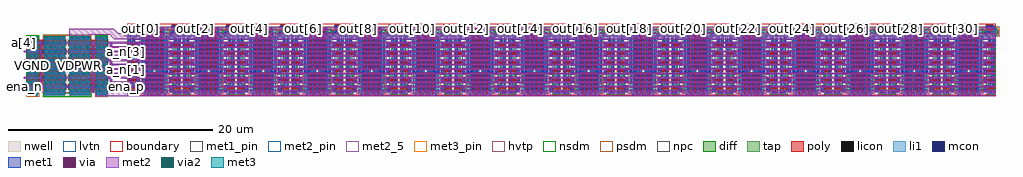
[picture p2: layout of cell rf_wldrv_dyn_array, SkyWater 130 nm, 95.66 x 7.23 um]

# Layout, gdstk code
from math import pi, radians
import gdstk
lib = gdstk.Library(unit=1e-6, precision=1e-09)
def R(c, l, rs):  # rectangles x0, y0, x1, y1
    for r in rs: c.add(gdstk.rectangle(r[:2], r[2:], *l))
def A(c, l, x, y, w, h, nx, ny, dx, dy):  # array of equal rectangles
    R(c, l, [(x+i*dx, y+j*dy, x+i*dx+w, y+j*dy+h) for i in range(nx) for j in range(ny)])
def P(c, l, *ps):  # polygons
    for p in ps: c.add(gdstk.Polygon(p, *l))
nwell = (64, 20)
diff = (65, 20)
tap = (65, 44)
poly = (66, 20)
licon = (66, 44)
li1 = (67, 20)
mcon = (67, 44)
met1_pin = (68, 16)
met1 = (68, 20)
via = (68, 44)
met2_5 = (69, 5)
met2_pin = (69, 16)
met2 = (69, 20)
via2 = (69, 44)
met3_pin = (70, 16)
met3 = (70, 20)
hvtp = (78, 44)
nsdm = (93, 44)
psdm = (94, 20)
npc = (95, 20)
lvtn = (125, 44)
boundary = (235, 4)

rf_wldrv_dyn = lib.new_cell('rf_wldrv_dyn')
R(rf_wldrv_dyn, nwell, [(1.17,2.515,2.965,5.735), (-0.355,5.735,2.965,6.735)])
A(rf_wldrv_dyn, diff, 0.235, 0.465, 0.52, 0.3, 1, 6, 0, 0.86)
A(rf_wldrv_dyn, diff, 0.145, 0.765, 0.61, 0.56, 1, 5, 0, 0.86)
R(rf_wldrv_dyn, diff, [(0.145,0.135,0.755,0.465), (1.64,0.235,2.785,2.065), (1.64,2.695,2.785,6.395), (0.145,5.065,0.755,5.395), (-0.175,5.945,1.08,6.365), (-0.125,6.365,0.125,6.555)])
R(rf_wldrv_dyn, tap, [(1.35,0.235,1.64,2.065), (1.35,2.695,1.64,6.395)])
A(rf_wldrv_dyn, poly, 0.105, 0.54, 1.06, 0.15, 1, 6, 0, 0.86)
R(rf_wldrv_dyn, poly, [(1.94,0.105,2.09,2.14), (2.37,0.105,2.52,2.14), (0.895,0.45,1.165,0.54), (0.895,0.69,1.165,0.78), (0.895,1.31,1.165,1.4), (0.895,1.55,1.165,1.64), (1.94,2.14,2.52,2.24), (0.895,2.17,1.165,2.26), (1.925,2.24,2.535,2.51), (0.895,2.41,1.165,2.5), (1.94,2.51,2.52,2.62), (1.94,2.62,2.09,6.525), (2.37,2.62,2.52,6.525), (0.895,3.03,1.165,3.12), (0.895,3.27,1.165,3.36), (0.895,3.89,1.165,3.98), (0.895,4.13,1.165,4.22), (0.895,4.75,1.165,4.84), (0.895,4.99,1.165,5.08), (0.465,5.815,0.765,6.52), (0.28,6.52,0.95,6.82)])
A(rf_wldrv_dyn, licon, 1.37, 0.385, 0.17, 0.17, 1, 5, 0, 0.34)
A(rf_wldrv_dyn, licon, 1.715, 0.385, 0.17, 0.17, 3, 5, 0.43, 0.34)
A(rf_wldrv_dyn, licon, 0.945, 0.53, 0.17, 0.17, 1, 6, 0, 0.86)
A(rf_wldrv_dyn, licon, 0.375, 0.745, 0.17, 0.17, 1, 10, 0, 0.43)
A(rf_wldrv_dyn, licon, 1.715, 2.76, 0.17, 0.17, 3, 11, 0.43, 0.34)
A(rf_wldrv_dyn, licon, 1.365, 2.93, 0.17, 0.17, 1, 10, 0, 0.34)
R(rf_wldrv_dyn, licon, [(0.205,0.255,0.375,0.425), (0.545,0.255,0.715,0.425), (1.975,2.29,2.145,2.46), (2.315,2.29,2.485,2.46), (0.205,5.105,0.375,5.275), (0.545,5.105,0.715,5.275), (-0.085,5.985,0.085,6.155), (0.87,6.07,1.04,6.24), (-0.085,6.325,0.085,6.495), (0.36,6.6,0.53,6.77), (0.7,6.6,0.87,6.77)])
A(rf_wldrv_dyn, li1, 0.945, 0.29, 0.17, 0.65, 1, 6, 0, 0.86)
A(rf_wldrv_dyn, li1, 0.295, 0.745, 0.33, 0.6, 1, 5, 0, 0.86)
R(rf_wldrv_dyn, li1, [(0,0.175,0.715,0.505), (1.365,0.215,1.885,2.085), (2.145,0.215,2.315,2.085), (2.575,0.215,2.745,2.085), (1.315,2.29,2.565,2.46), (1.365,2.675,1.885,5.715), (2.145,2.675,2.315,6.415), (2.575,2.675,2.745,6.415), (0.205,5.015,0.715,5.545), (-0.085,5.715,1.885,5.885), (-0.085,5.885,0.085,6.575), (1.365,5.885,1.885,6.415), (0.515,6.07,1.12,6.24), (0.28,6.6,0.95,6.77)])
A(rf_wldrv_dyn, mcon, 1.715, 0.345, 0.17, 0.17, 1, 5, 0, 0.36)
A(rf_wldrv_dyn, mcon, 2.575, 0.345, 0.17, 0.17, 1, 5, 0, 0.36)
A(rf_wldrv_dyn, mcon, 2.145, 0.37, 0.17, 0.17, 1, 5, 0, 0.36)
A(rf_wldrv_dyn, mcon, 2.145, 2.84, 0.17, 0.17, 1, 10, 0, 0.36)
A(rf_wldrv_dyn, mcon, 2.575, 2.84, 0.17, 0.17, 1, 10, 0, 0.36)
A(rf_wldrv_dyn, mcon, 1.715, 2.925, 0.17, 0.17, 1, 9, 0, 0.36)
R(rf_wldrv_dyn, mcon, [(0.125,0.255,0.295,0.425), (0.485,0.255,0.655,0.425), (0.945,0.35,1.115,0.52), (0.945,0.71,1.115,0.88), (0.945,1.21,1.115,1.38), (0.945,1.57,1.115,1.74), (0.945,2.07,1.115,2.24), (1.38,2.29,1.55,2.46), (1.74,2.29,1.91,2.46), (0.945,2.43,1.115,2.6), (0.945,2.93,1.115,3.1), (0.945,3.29,1.115,3.46), (0.945,3.79,1.115,3.96), (0.945,4.15,1.115,4.32), (0.945,4.65,1.115,4.82), (0.945,5.01,1.115,5.18), (0.515,5.015,0.685,5.185), (0.515,5.375,0.685,5.545), (0.545,6.07,0.715,6.24), (0.905,6.07,1.075,6.24), (0.35,6.6,0.52,6.77), (0.71,6.6,0.88,6.77)])
A(rf_wldrv_dyn, met1_pin, 0.885, 0.29, 0.29, 0.65, 1, 6, 0, 0.86)
A(rf_wldrv_dyn, met1, 0.885, 1.15, 0.29, 0.65, 1, 5, 0, 0.86)
R(rf_wldrv_dyn, met1, [(1.54,-0.115,2.82,0.145), (1.685,0.145,1.915,2.065), (2.545,0.145,2.775,2.065), (0,0.195,0.715,0.485), (2.115,0.285,2.345,6.35), (0.885,0.29,1.175,0.71), (0.545,0.71,1.175,0.91), (0.345,0.91,1.175,0.94), (0.345,0.94,0.445,1.04), (0.215,1.04,0.445,4.6), (1.315,2.23,1.975,2.52), (1.315,2.52,1.545,5.41), (1.685,2.695,1.915,5.445), (2.545,2.695,2.775,5.445), (0.215,4.6,0.425,4.62), (0.1,4.62,0.315,4.635), (0.085,4.635,0.315,6.57), (0.485,4.955,0.715,5.41), (0.485,5.41,1.545,5.64), (1.685,5.445,1.945,6.105), (2.53,5.445,2.79,6.105), (0.905,5.64,1.135,6.04), (0.485,6.04,1.135,6.27), (1.685,6.105,1.915,6.21), (2.545,6.105,2.775,6.395), (1.705,6.35,2.345,6.61), (0.085,6.57,1.01,6.8)])
P(rf_wldrv_dyn, met1, [(0.085,4.635),(0.1,4.635),(0.1,4.62)],
  [(0.315,4.73),(0.315,4.62),(0.425,4.62)],
  [(0.1,4.62),(0.215,4.62),(0.215,4.505)],
  [(0.425,4.62),(0.425,4.6),(0.445,4.6)],
  [(0.215,1.04),(0.345,1.04),(0.345,0.91)],
  [(0.445,1.18),(0.445,0.94),(0.685,0.94)],
  [(0.345,0.91),(0.545,0.91),(0.545,0.71)])
A(rf_wldrv_dyn, via, 1.625, -0.06, 0.15, 0.15, 4, 1, 0.32, 0)
R(rf_wldrv_dyn, via, [(0.085,0.28,0.235,0.43), (0.405,0.28,0.555,0.43), (1.74,5.54,1.89,5.69), (2.585,5.54,2.735,5.69), (1.74,5.86,1.89,6.01), (2.585,5.86,2.735,6.01), (1.79,6.405,1.94,6.555), (2.11,6.405,2.26,6.555)])
R(rf_wldrv_dyn, met2_pin, [(0,-0.115,2.82,0.485), (0,5.475,2.82,6.075), (0.15,6.34,2.51,6.62)])
A(rf_wldrv_dyn, met2, 0, 0.745, 2.66, 0.17, 1, 11, 0, 0.43)
R(rf_wldrv_dyn, met2, [(0,-0.115,2.82,0.485), (0,5.475,2.82,6.075), (0.15,6.34,2.51,6.62)])
R(rf_wldrv_dyn, hvtp, [(0.285,5.765,0.945,6.545)])
R(rf_wldrv_dyn, nsdm, [(0.02,0.01,0.88,2.57), (1.64,0.11,2.91,2.19), (0.02,2.57,1.64,5.52), (1.225,5.52,1.64,6.52)])
R(rf_wldrv_dyn, psdm, [(1.225,0.11,1.64,2.19), (1.64,2.57,2.91,6.52), (-0.3,5.82,1.205,6.49), (-0.25,6.49,0.25,6.68)])
A(rf_wldrv_dyn, npc, 0.845, 0.43, 0.37, 0.37, 1, 6, 0, 0.86)
R(rf_wldrv_dyn, npc, [(1.875,2.19,2.585,2.56), (0.26,6.5,0.97,6.87)])
R(rf_wldrv_dyn, lvtn, [(0.055,0.36,0.935,5.17)])
R(rf_wldrv_dyn, boundary, [(0,0,2.66,7)])
rf_wldrv_dyn.add(gdstk.Label('VGND', (1.41,0.185), layer=69, texttype=5))
rf_wldrv_dyn.add(gdstk.Label('VDPWR', (1.41,5.775), layer=69, texttype=5))
rf_wldrv_dyn.add(gdstk.Label('ena', (1.03,0.615), layer=68, texttype=5))
rf_wldrv_dyn.add(gdstk.Label('a0', (1.03,1.475), layer=68, texttype=5))
rf_wldrv_dyn.add(gdstk.Label('a1', (1.03,2.335), layer=68, texttype=5))
rf_wldrv_dyn.add(gdstk.Label('a2', (1.03,3.195), layer=68, texttype=5))
rf_wldrv_dyn.add(gdstk.Label('a3', (1.03,4.055), layer=68, texttype=5))
rf_wldrv_dyn.add(gdstk.Label('a4', (1.03,4.915), layer=68, texttype=5))
rf_wldrv_dyn.add(gdstk.Label('out', (1.33,6.48), layer=69, texttype=5))

rf_wldrv_ckt = lib.new_cell('rf_wldrv_ckt')
R(rf_wldrv_ckt, met1, [(-0.13,-0.16,0.13,0.16)])
R(rf_wldrv_ckt, via, [(-0.075,-0.075,0.075,0.075)])
R(rf_wldrv_ckt, met2, [(-0.16,-0.13,0.16,0.13)])

rf_wldrv_ckt_array = lib.new_cell('rf_wldrv_ckt_array')
rf_wldrv_ckt_array.add(gdstk.Reference(rf_wldrv_ckt, (84.09,3.895)))
rf_wldrv_ckt_array.add(gdstk.Reference(rf_wldrv_ckt, (84.09,3.035)))
rf_wldrv_ckt_array.add(gdstk.Reference(rf_wldrv_ckt, (84.09,2.175)))
rf_wldrv_ckt_array.add(gdstk.Reference(rf_wldrv_ckt, (84.09,1.315)))
rf_wldrv_ckt_array.add(gdstk.Reference(rf_wldrv_ckt, (84.09,0.455)))
rf_wldrv_ckt_array.add(gdstk.Reference(rf_wldrv_ckt, (80.83,3.895)))
rf_wldrv_ckt_array.add(gdstk.Reference(rf_wldrv_ckt, (80.83,3.035)))
rf_wldrv_ckt_array.add(gdstk.Reference(rf_wldrv_ckt, (80.83,2.175)))
rf_wldrv_ckt_array.add(gdstk.Reference(rf_wldrv_ckt, (80.83,1.315)))
rf_wldrv_ckt_array.add(gdstk.Reference(rf_wldrv_ckt, (80.83,0.775)))
rf_wldrv_ckt_array.add(gdstk.Reference(rf_wldrv_ckt, (78.77,3.895)))
rf_wldrv_ckt_array.add(gdstk.Reference(rf_wldrv_ckt, (78.77,3.035)))
rf_wldrv_ckt_array.add(gdstk.Reference(rf_wldrv_ckt, (78.77,2.175)))
rf_wldrv_ckt_array.add(gdstk.Reference(rf_wldrv_ckt, (78.77,1.635)))
rf_wldrv_ckt_array.add(gdstk.Reference(rf_wldrv_ckt, (78.77,0.455)))
rf_wldrv_ckt_array.add(gdstk.Reference(rf_wldrv_ckt, (75.51,3.895)))
rf_wldrv_ckt_array.add(gdstk.Reference(rf_wldrv_ckt, (75.51,3.035)))
rf_wldrv_ckt_array.add(gdstk.Reference(rf_wldrv_ckt, (75.51,2.175)))
rf_wldrv_ckt_array.add(gdstk.Reference(rf_wldrv_ckt, (75.51,1.635)))
rf_wldrv_ckt_array.add(gdstk.Reference(rf_wldrv_ckt, (75.51,0.775)))
rf_wldrv_ckt_array.add(gdstk.Reference(rf_wldrv_ckt, (73.45,3.895)))
rf_wldrv_ckt_array.add(gdstk.Reference(rf_wldrv_ckt, (73.45,3.035)))
rf_wldrv_ckt_array.add(gdstk.Reference(rf_wldrv_ckt, (73.45,2.495)))
rf_wldrv_ckt_array.add(gdstk.Reference(rf_wldrv_ckt, (73.45,1.315)))
rf_wldrv_ckt_array.add(gdstk.Reference(rf_wldrv_ckt, (73.45,0.455)))
rf_wldrv_ckt_array.add(gdstk.Reference(rf_wldrv_ckt, (70.19,3.895)))
rf_wldrv_ckt_array.add(gdstk.Reference(rf_wldrv_ckt, (70.19,3.035)))
rf_wldrv_ckt_array.add(gdstk.Reference(rf_wldrv_ckt, (70.19,2.495)))
rf_wldrv_ckt_array.add(gdstk.Reference(rf_wldrv_ckt, (70.19,1.315)))
rf_wldrv_ckt_array.add(gdstk.Reference(rf_wldrv_ckt, (70.19,0.775)))
rf_wldrv_ckt_array.add(gdstk.Reference(rf_wldrv_ckt, (68.13,3.895)))
rf_wldrv_ckt_array.add(gdstk.Reference(rf_wldrv_ckt, (68.13,3.035)))
rf_wldrv_ckt_array.add(gdstk.Reference(rf_wldrv_ckt, (68.13,2.495)))
rf_wldrv_ckt_array.add(gdstk.Reference(rf_wldrv_ckt, (68.13,1.635)))
rf_wldrv_ckt_array.add(gdstk.Reference(rf_wldrv_ckt, (68.13,0.455)))
rf_wldrv_ckt_array.add(gdstk.Reference(rf_wldrv_ckt, (64.87,3.895)))
rf_wldrv_ckt_array.add(gdstk.Reference(rf_wldrv_ckt, (64.87,3.035)))
rf_wldrv_ckt_array.add(gdstk.Reference(rf_wldrv_ckt, (64.87,2.495)))
rf_wldrv_ckt_array.add(gdstk.Reference(rf_wldrv_ckt, (64.87,1.635)))
rf_wldrv_ckt_array.add(gdstk.Reference(rf_wldrv_ckt, (64.87,0.775)))
rf_wldrv_ckt_array.add(gdstk.Reference(rf_wldrv_ckt, (62.81,3.895)))
rf_wldrv_ckt_array.add(gdstk.Reference(rf_wldrv_ckt, (62.81,3.355)))
rf_wldrv_ckt_array.add(gdstk.Reference(rf_wldrv_ckt, (62.81,2.175)))
rf_wldrv_ckt_array.add(gdstk.Reference(rf_wldrv_ckt, (62.81,1.315)))
rf_wldrv_ckt_array.add(gdstk.Reference(rf_wldrv_ckt, (62.81,0.455)))
rf_wldrv_ckt_array.add(gdstk.Reference(rf_wldrv_ckt, (59.55,3.895)))
rf_wldrv_ckt_array.add(gdstk.Reference(rf_wldrv_ckt, (59.55,3.355)))
rf_wldrv_ckt_array.add(gdstk.Reference(rf_wldrv_ckt, (59.55,2.175)))
rf_wldrv_ckt_array.add(gdstk.Reference(rf_wldrv_ckt, (59.55,1.315)))
rf_wldrv_ckt_array.add(gdstk.Reference(rf_wldrv_ckt, (59.55,0.775)))
rf_wldrv_ckt_array.add(gdstk.Reference(rf_wldrv_ckt, (57.49,3.895)))
rf_wldrv_ckt_array.add(gdstk.Reference(rf_wldrv_ckt, (57.49,3.355)))
rf_wldrv_ckt_array.add(gdstk.Reference(rf_wldrv_ckt, (57.49,2.175)))
rf_wldrv_ckt_array.add(gdstk.Reference(rf_wldrv_ckt, (57.49,1.635)))
rf_wldrv_ckt_array.add(gdstk.Reference(rf_wldrv_ckt, (57.49,0.455)))
rf_wldrv_ckt_array.add(gdstk.Reference(rf_wldrv_ckt, (54.23,3.895)))
rf_wldrv_ckt_array.add(gdstk.Reference(rf_wldrv_ckt, (54.23,3.355)))
rf_wldrv_ckt_array.add(gdstk.Reference(rf_wldrv_ckt, (54.23,2.175)))
rf_wldrv_ckt_array.add(gdstk.Reference(rf_wldrv_ckt, (54.23,1.635)))
rf_wldrv_ckt_array.add(gdstk.Reference(rf_wldrv_ckt, (54.23,0.775)))
rf_wldrv_ckt_array.add(gdstk.Reference(rf_wldrv_ckt, (52.17,3.895)))
rf_wldrv_ckt_array.add(gdstk.Reference(rf_wldrv_ckt, (52.17,3.355)))
rf_wldrv_ckt_array.add(gdstk.Reference(rf_wldrv_ckt, (52.17,2.495)))
rf_wldrv_ckt_array.add(gdstk.Reference(rf_wldrv_ckt, (52.17,1.315)))
rf_wldrv_ckt_array.add(gdstk.Reference(rf_wldrv_ckt, (52.17,0.455)))
rf_wldrv_ckt_array.add(gdstk.Reference(rf_wldrv_ckt, (48.91,3.895)))
rf_wldrv_ckt_array.add(gdstk.Reference(rf_wldrv_ckt, (48.91,3.355)))
rf_wldrv_ckt_array.add(gdstk.Reference(rf_wldrv_ckt, (48.91,2.495)))
rf_wldrv_ckt_array.add(gdstk.Reference(rf_wldrv_ckt, (48.91,1.315)))
rf_wldrv_ckt_array.add(gdstk.Reference(rf_wldrv_ckt, (48.91,0.775)))
rf_wldrv_ckt_array.add(gdstk.Reference(rf_wldrv_ckt, (46.85,3.895)))
rf_wldrv_ckt_array.add(gdstk.Reference(rf_wldrv_ckt, (46.85,3.355)))
rf_wldrv_ckt_array.add(gdstk.Reference(rf_wldrv_ckt, (46.85,2.495)))
rf_wldrv_ckt_array.add(gdstk.Reference(rf_wldrv_ckt, (46.85,1.635)))
rf_wldrv_ckt_array.add(gdstk.Reference(rf_wldrv_ckt, (46.85,0.455)))
rf_wldrv_ckt_array.add(gdstk.Reference(rf_wldrv_ckt, (43.59,3.895)))
rf_wldrv_ckt_array.add(gdstk.Reference(rf_wldrv_ckt, (43.59,3.355)))
rf_wldrv_ckt_array.add(gdstk.Reference(rf_wldrv_ckt, (43.59,2.495)))
rf_wldrv_ckt_array.add(gdstk.Reference(rf_wldrv_ckt, (43.59,1.635)))
rf_wldrv_ckt_array.add(gdstk.Reference(rf_wldrv_ckt, (43.59,0.775)))
rf_wldrv_ckt_array.add(gdstk.Reference(rf_wldrv_ckt, (41.53,4.215)))
rf_wldrv_ckt_array.add(gdstk.Reference(rf_wldrv_ckt, (41.53,3.035)))
rf_wldrv_ckt_array.add(gdstk.Reference(rf_wldrv_ckt, (41.53,2.175)))
rf_wldrv_ckt_array.add(gdstk.Reference(rf_wldrv_ckt, (41.53,1.315)))
rf_wldrv_ckt_array.add(gdstk.Reference(rf_wldrv_ckt, (41.53,0.455)))
rf_wldrv_ckt_array.add(gdstk.Reference(rf_wldrv_ckt, (38.27,4.215)))
rf_wldrv_ckt_array.add(gdstk.Reference(rf_wldrv_ckt, (38.27,3.035)))
rf_wldrv_ckt_array.add(gdstk.Reference(rf_wldrv_ckt, (38.27,2.175)))
rf_wldrv_ckt_array.add(gdstk.Reference(rf_wldrv_ckt, (38.27,1.315)))
rf_wldrv_ckt_array.add(gdstk.Reference(rf_wldrv_ckt, (38.27,0.775)))
rf_wldrv_ckt_array.add(gdstk.Reference(rf_wldrv_ckt, (36.21,4.215)))
rf_wldrv_ckt_array.add(gdstk.Reference(rf_wldrv_ckt, (36.21,3.035)))
rf_wldrv_ckt_array.add(gdstk.Reference(rf_wldrv_ckt, (36.21,2.175)))
rf_wldrv_ckt_array.add(gdstk.Reference(rf_wldrv_ckt, (36.21,1.635)))
rf_wldrv_ckt_array.add(gdstk.Reference(rf_wldrv_ckt, (36.21,0.455)))
rf_wldrv_ckt_array.add(gdstk.Reference(rf_wldrv_ckt, (32.95,4.215)))
rf_wldrv_ckt_array.add(gdstk.Reference(rf_wldrv_ckt, (32.95,3.035)))
rf_wldrv_ckt_array.add(gdstk.Reference(rf_wldrv_ckt, (32.95,2.175)))
rf_wldrv_ckt_array.add(gdstk.Reference(rf_wldrv_ckt, (32.95,1.635)))
rf_wldrv_ckt_array.add(gdstk.Reference(rf_wldrv_ckt, (32.95,0.775)))
rf_wldrv_ckt_array.add(gdstk.Reference(rf_wldrv_ckt, (30.89,4.215)))
rf_wldrv_ckt_array.add(gdstk.Reference(rf_wldrv_ckt, (30.89,3.035)))
rf_wldrv_ckt_array.add(gdstk.Reference(rf_wldrv_ckt, (30.89,2.495)))
rf_wldrv_ckt_array.add(gdstk.Reference(rf_wldrv_ckt, (30.89,1.315)))
rf_wldrv_ckt_array.add(gdstk.Reference(rf_wldrv_ckt, (30.89,0.455)))
rf_wldrv_ckt_array.add(gdstk.Reference(rf_wldrv_ckt, (27.63,4.215)))
rf_wldrv_ckt_array.add(gdstk.Reference(rf_wldrv_ckt, (27.63,3.035)))
rf_wldrv_ckt_array.add(gdstk.Reference(rf_wldrv_ckt, (27.63,2.495)))
rf_wldrv_ckt_array.add(gdstk.Reference(rf_wldrv_ckt, (27.63,1.315)))
rf_wldrv_ckt_array.add(gdstk.Reference(rf_wldrv_ckt, (27.63,0.775)))
rf_wldrv_ckt_array.add(gdstk.Reference(rf_wldrv_ckt, (25.57,4.215)))
rf_wldrv_ckt_array.add(gdstk.Reference(rf_wldrv_ckt, (25.57,3.035)))
rf_wldrv_ckt_array.add(gdstk.Reference(rf_wldrv_ckt, (25.57,2.495)))
rf_wldrv_ckt_array.add(gdstk.Reference(rf_wldrv_ckt, (25.57,1.635)))
rf_wldrv_ckt_array.add(gdstk.Reference(rf_wldrv_ckt, (25.57,0.455)))
rf_wldrv_ckt_array.add(gdstk.Reference(rf_wldrv_ckt, (22.31,4.215)))
rf_wldrv_ckt_array.add(gdstk.Reference(rf_wldrv_ckt, (22.31,3.035)))
rf_wldrv_ckt_array.add(gdstk.Reference(rf_wldrv_ckt, (22.31,2.495)))
rf_wldrv_ckt_array.add(gdstk.Reference(rf_wldrv_ckt, (22.31,1.635)))
rf_wldrv_ckt_array.add(gdstk.Reference(rf_wldrv_ckt, (22.31,0.775)))
rf_wldrv_ckt_array.add(gdstk.Reference(rf_wldrv_ckt, (20.25,4.215)))
rf_wldrv_ckt_array.add(gdstk.Reference(rf_wldrv_ckt, (20.25,3.355)))
rf_wldrv_ckt_array.add(gdstk.Reference(rf_wldrv_ckt, (20.25,2.175)))
rf_wldrv_ckt_array.add(gdstk.Reference(rf_wldrv_ckt, (20.25,1.315)))
rf_wldrv_ckt_array.add(gdstk.Reference(rf_wldrv_ckt, (20.25,0.455)))
rf_wldrv_ckt_array.add(gdstk.Reference(rf_wldrv_ckt, (16.99,4.215)))
rf_wldrv_ckt_array.add(gdstk.Reference(rf_wldrv_ckt, (16.99,3.355)))
rf_wldrv_ckt_array.add(gdstk.Reference(rf_wldrv_ckt, (16.99,2.175)))
rf_wldrv_ckt_array.add(gdstk.Reference(rf_wldrv_ckt, (16.99,1.315)))
rf_wldrv_ckt_array.add(gdstk.Reference(rf_wldrv_ckt, (16.99,0.775)))
rf_wldrv_ckt_array.add(gdstk.Reference(rf_wldrv_ckt, (14.93,4.215)))
rf_wldrv_ckt_array.add(gdstk.Reference(rf_wldrv_ckt, (14.93,3.355)))
rf_wldrv_ckt_array.add(gdstk.Reference(rf_wldrv_ckt, (14.93,2.175)))
rf_wldrv_ckt_array.add(gdstk.Reference(rf_wldrv_ckt, (14.93,1.635)))
rf_wldrv_ckt_array.add(gdstk.Reference(rf_wldrv_ckt, (14.93,0.455)))
rf_wldrv_ckt_array.add(gdstk.Reference(rf_wldrv_ckt, (11.67,4.215)))
rf_wldrv_ckt_array.add(gdstk.Reference(rf_wldrv_ckt, (11.67,3.355)))
rf_wldrv_ckt_array.add(gdstk.Reference(rf_wldrv_ckt, (11.67,2.175)))
rf_wldrv_ckt_array.add(gdstk.Reference(rf_wldrv_ckt, (11.67,1.635)))
rf_wldrv_ckt_array.add(gdstk.Reference(rf_wldrv_ckt, (11.67,0.775)))
rf_wldrv_ckt_array.add(gdstk.Reference(rf_wldrv_ckt, (9.61,4.215)))
rf_wldrv_ckt_array.add(gdstk.Reference(rf_wldrv_ckt, (9.61,3.355)))
rf_wldrv_ckt_array.add(gdstk.Reference(rf_wldrv_ckt, (9.61,2.495)))
rf_wldrv_ckt_array.add(gdstk.Reference(rf_wldrv_ckt, (9.61,1.315)))
rf_wldrv_ckt_array.add(gdstk.Reference(rf_wldrv_ckt, (9.61,0.455)))
rf_wldrv_ckt_array.add(gdstk.Reference(rf_wldrv_ckt, (6.35,4.215)))
rf_wldrv_ckt_array.add(gdstk.Reference(rf_wldrv_ckt, (6.35,3.355)))
rf_wldrv_ckt_array.add(gdstk.Reference(rf_wldrv_ckt, (6.35,2.495)))
rf_wldrv_ckt_array.add(gdstk.Reference(rf_wldrv_ckt, (6.35,1.315)))
rf_wldrv_ckt_array.add(gdstk.Reference(rf_wldrv_ckt, (6.35,0.775)))
rf_wldrv_ckt_array.add(gdstk.Reference(rf_wldrv_ckt, (4.29,4.215)))
rf_wldrv_ckt_array.add(gdstk.Reference(rf_wldrv_ckt, (4.29,3.355)))
rf_wldrv_ckt_array.add(gdstk.Reference(rf_wldrv_ckt, (4.29,2.495)))
rf_wldrv_ckt_array.add(gdstk.Reference(rf_wldrv_ckt, (4.29,1.635)))
rf_wldrv_ckt_array.add(gdstk.Reference(rf_wldrv_ckt, (4.29,0.455)))
rf_wldrv_ckt_array.add(gdstk.Reference(rf_wldrv_ckt, (1.03,4.215)))
rf_wldrv_ckt_array.add(gdstk.Reference(rf_wldrv_ckt, (1.03,3.355)))
rf_wldrv_ckt_array.add(gdstk.Reference(rf_wldrv_ckt, (1.03,2.495)))
rf_wldrv_ckt_array.add(gdstk.Reference(rf_wldrv_ckt, (1.03,1.635)))
rf_wldrv_ckt_array.add(gdstk.Reference(rf_wldrv_ckt, (1.03,0.775)))

rf_wldrv_dyn_array = lib.new_cell('rf_wldrv_dyn_array')
R(rf_wldrv_dyn_array, nwell, [(-8.315,-0.23,-3.485,5.935)])
R(rf_wldrv_dyn_array, diff, [(-9.775,0.24,-8.775,5.755), (-8.135,0.24,-6.135,5.735), (-5.665,0.24,-3.665,5.735), (-3.025,0.24,-2.025,5.755)])
R(rf_wldrv_dyn_array, tap, [(-9.775,-0.05,-8.775,0.24), (-8.135,-0.05,-6.135,0.24), (-5.665,-0.05,-3.665,0.24), (-3.025,-0.05,-2.025,0.24)])
A(rf_wldrv_dyn_array, poly, -9.905, 0.54, 3.9, 0.15, 1, 12, 0, 0.43)
A(rf_wldrv_dyn_array, poly, -5.795, 0.54, 3.9, 0.15, 1, 12, 0, 0.43)
A(rf_wldrv_dyn_array, poly, -8.7, 0.69, 0.49, 0.28, 1, 6, 0, 0.86)
A(rf_wldrv_dyn_array, poly, -3.59, 0.69, 0.49, 0.28, 1, 6, 0, 0.86)
A(rf_wldrv_dyn_array, licon, -7.9, -0.025, 0.17, 0.17, 5, 1, 0.34, 0)
A(rf_wldrv_dyn_array, licon, -5.43, -0.025, 0.17, 0.17, 5, 1, 0.34, 0)
A(rf_wldrv_dyn_array, licon, -9.7, 0.315, 0.17, 0.17, 3, 13, 0.34, 0.43)
A(rf_wldrv_dyn_array, licon, -8.07, 0.315, 0.17, 0.17, 6, 13, 0.34, 0.43)
A(rf_wldrv_dyn_array, licon, -5.6, 0.315, 0.17, 0.17, 6, 13, 0.34, 0.43)
A(rf_wldrv_dyn_array, licon, -2.95, 0.315, 0.17, 0.17, 3, 13, 0.34, 0.43)
A(rf_wldrv_dyn_array, licon, -8.54, 0.745, 0.17, 0.17, 1, 6, 0, 0.86)
A(rf_wldrv_dyn_array, licon, -3.43, 0.745, 0.17, 0.17, 1, 6, 0, 0.86)
R(rf_wldrv_dyn_array, licon, [(-9.53,-0.025,-9.36,0.145), (-9.19,-0.025,-9.02,0.145), (-2.78,-0.025,-2.61,0.145), (-2.44,-0.025,-2.27,0.145)])
A(rf_wldrv_dyn_array, li1, -9.795, 0.315, 1.04, 0.17, 1, 13, 0, 0.43)
A(rf_wldrv_dyn_array, li1, -8.54, 0.315, 0.17, 0.68, 1, 6, 0, 0.86)
A(rf_wldrv_dyn_array, li1, -8.155, 0.315, 2.04, 0.17, 1, 13, 0, 0.43)
A(rf_wldrv_dyn_array, li1, -5.685, 0.315, 2.04, 0.17, 1, 13, 0, 0.43)
A(rf_wldrv_dyn_array, li1, -3.43, 0.315, 0.17, 0.68, 1, 6, 0, 0.86)
A(rf_wldrv_dyn_array, li1, -3.045, 0.315, 1.04, 0.17, 1, 13, 0, 0.43)
R(rf_wldrv_dyn_array, li1, [(-9.735,-0.025,-8.815,0.315), (-8.095,-0.025,-6.175,0.315), (-5.625,-0.025,-3.705,0.315), (-2.985,-0.025,-2.065,0.315)])
A(rf_wldrv_dyn_array, mcon, -9.72, 0.315, 0.17, 0.17, 3, 13, 0.36, 0.43)
A(rf_wldrv_dyn_array, mcon, -8.54, 0.315, 0.17, 0.17, 1, 6, 0, 0.86)
A(rf_wldrv_dyn_array, mcon, -8.12, 0.315, 0.17, 0.17, 6, 13, 0.36, 0.43)
A(rf_wldrv_dyn_array, mcon, -5.65, 0.315, 0.17, 0.17, 6, 13, 0.36, 0.43)
A(rf_wldrv_dyn_array, mcon, -3.43, 0.315, 0.17, 0.17, 1, 6, 0, 0.86)
A(rf_wldrv_dyn_array, mcon, -2.97, 0.315, 0.17, 0.17, 3, 13, 0.36, 0.43)
A(rf_wldrv_dyn_array, met1, -9.825, 0.24, 1.1, 0.32, 1, 7, 0, 0.86)
A(rf_wldrv_dyn_array, met1, -8.585, 0.24, 0.26, 0.32, 1, 6, 0, 0.86)
A(rf_wldrv_dyn_array, met1, -8.185, 0.24, 2.1, 0.32, 1, 7, 0, 0.86)
A(rf_wldrv_dyn_array, met1, -5.715, 0.24, 2.1, 0.32, 1, 7, 0, 0.86)
A(rf_wldrv_dyn_array, met1, -3.475, 0.24, 0.26, 0.32, 1, 6, 0, 0.86)
A(rf_wldrv_dyn_array, met1, -3.075, 0.24, 1.1, 0.32, 1, 7, 0, 0.86)
A(rf_wldrv_dyn_array, met1, -1.74, 1.1, 0.26, 0.32, 1, 5, 0, 0.86)
A(rf_wldrv_dyn_array, met1, -1.725, 1.42, 0.23, 0.155, 1, 5, 0, 0.86)
A(rf_wldrv_dyn_array, met1, -9.855, 1.575, 3.8, 0.23, 1, 5, 0, 0.86)
A(rf_wldrv_dyn_array, met1, -5.745, 1.575, 4.25, 0.23, 1, 5, 0, 0.86)
R(rf_wldrv_dyn_array, met1, [(-1.77,0.7,-1.45,0.715), (-9.855,0.715,-1.45,0.945), (-1.77,0.945,-1.45,0.96), (-6.375,1.56,-6.055,1.575), (-6.375,1.805,-6.055,1.82), (-6.375,2.42,-6.055,2.435), (-6.375,2.665,-6.055,2.68), (-6.375,3.28,-6.055,3.295), (-6.375,3.525,-6.055,3.54), (-6.375,4.14,-6.055,4.155), (-6.375,4.385,-6.055,4.4), (-6.375,5,-6.055,5.015), (-6.375,5.245,-6.055,5.26)])
A(rf_wldrv_dyn_array, via, -9.67, 0.325, 0.15, 0.15, 3, 7, 0.32, 0.86)
A(rf_wldrv_dyn_array, via, -8.53, 0.325, 0.15, 0.15, 1, 6, 0, 0.86)
A(rf_wldrv_dyn_array, via, -8.01, 0.325, 0.15, 0.15, 6, 7, 0.32, 0.86)
A(rf_wldrv_dyn_array, via, -5.54, 0.325, 0.15, 0.15, 6, 7, 0.32, 0.86)
A(rf_wldrv_dyn_array, via, -3.42, 0.325, 0.15, 0.15, 1, 6, 0, 0.86)
A(rf_wldrv_dyn_array, via, -2.92, 0.325, 0.15, 0.15, 3, 7, 0.32, 0.86)
A(rf_wldrv_dyn_array, via, -1.685, 1.185, 0.15, 0.15, 1, 5, 0, 0.86)
A(rf_wldrv_dyn_array, via, -6.29, 1.615, 0.15, 0.15, 1, 5, 0, 0.86)
R(rf_wldrv_dyn_array, via, [(-1.685,0.755,-1.535,0.905)])
A(rf_wldrv_dyn_array, met2_5, -0.2, 0.745, 0.2, 0.17, 1, 11, 0, 0.43)
A(rf_wldrv_dyn_array, met2_pin, -10.18, 0.745, 0.1, 0.17, 1, 6, 0, 0.86)
A(rf_wldrv_dyn_array, met2_pin, 0.15, 6.34, 2.36, 0.28, 32, 1, 2.66, 0)
A(rf_wldrv_dyn_array, met2, -9.825, 0.24, 1.1, 0.32, 1, 7, 0, 0.86)
A(rf_wldrv_dyn_array, met2, -8.585, 0.24, 0.26, 0.32, 1, 6, 0, 0.86)
A(rf_wldrv_dyn_array, met2, -8.185, 0.24, 2.1, 0.32, 1, 7, 0, 0.86)
A(rf_wldrv_dyn_array, met2, -5.715, 0.24, 2.1, 0.32, 1, 6, 0, 0.86)
A(rf_wldrv_dyn_array, met2, -3.475, 0.24, 0.26, 0.32, 1, 6, 0, 0.86)
A(rf_wldrv_dyn_array, met2, -8.54, 0.56, 0.17, 0.185, 1, 6, 0, 0.86)
A(rf_wldrv_dyn_array, met2, -3.43, 0.56, 0.17, 0.185, 1, 6, 0, 0.86)
A(rf_wldrv_dyn_array, met2, -3.075, 1.1, 1.1, 0.32, 1, 6, 0, 0.86)
A(rf_wldrv_dyn_array, met2, -1.74, 1.175, 1.74, 0.17, 1, 5, 0, 0.86)
A(rf_wldrv_dyn_array, met2, -10.18, 1.605, 1.81, 0.17, 1, 5, 0, 0.86)
A(rf_wldrv_dyn_array, met2, -6.375, 1.605, 6.375, 0.17, 1, 5, 0, 0.86)
R(rf_wldrv_dyn_array, met2, [(-3.075,-0.115,0,0.485), (-3.075,0.485,-1.975,0.56), (-1.77,0.7,-1.45,0.745), (-10.18,0.745,-3.26,0.915), (-1.77,0.745,0,0.915), (-1.77,0.915,-1.45,0.96), (-1.74,1.1,-1.48,1.175), (-1.74,1.345,-1.48,1.42), (-6.375,1.56,-6.055,1.605), (-6.375,1.775,-6.055,1.82), (-1.74,1.96,-1.48,2.035), (-1.74,2.205,-1.48,2.28), (-6.375,2.42,-6.055,2.465), (-6.375,2.635,-6.055,2.68), (-1.74,2.82,-1.48,2.895), (-1.74,3.065,-1.48,3.14), (-6.375,3.28,-6.055,3.325), (-6.375,3.495,-6.055,3.54), (-1.74,3.68,-1.48,3.755), (-1.74,3.925,-1.48,4), (-6.375,4.14,-6.055,4.185), (-6.375,4.355,-6.055,4.4), (-1.74,4.54,-1.48,4.615), (-1.74,4.785,-1.48,4.86), (-6.375,5,-6.055,5.045), (-6.375,5.215,-6.055,5.26), (-5.715,5.4,-3.615,5.905), (-1.27,5.475,0,5.72), (-1.515,5.72,0,5.905), (-5.715,5.905,0,6.075), (-5.715,6.075,-1.325,6.505)])
P(rf_wldrv_dyn_array, met2, [(-1.325,6.505),(-1.325,6.075),(-0.895,6.075)],
  [(-1.7,5.905),(-1.515,5.905),(-1.515,5.72)],
  [(-1.515,5.72),(-1.27,5.72),(-1.27,5.475)])
A(rf_wldrv_dyn_array, via2, -9.575, 0.3, 0.2, 0.2, 1, 7, 0, 0.86)
A(rf_wldrv_dyn_array, via2, -9.175, 0.3, 0.2, 0.2, 1, 7, 0, 0.86)
A(rf_wldrv_dyn_array, via2, -8.035, 0.3, 0.2, 0.2, 5, 7, 0.4, 0.86)
A(rf_wldrv_dyn_array, via2, -5.565, 0.3, 0.2, 0.2, 5, 7, 0.4, 0.86)
A(rf_wldrv_dyn_array, via2, -2.825, 0.3, 0.2, 0.2, 1, 7, 0, 0.86)
A(rf_wldrv_dyn_array, via2, -2.425, 0.3, 0.2, 0.2, 1, 7, 0, 0.86)
R(rf_wldrv_dyn_array, met3_pin, [(-9.805,0.06,-8.745,5.755), (-8.165,0.06,-6.105,5.755), (-5.695,0.06,-3.635,5.755), (-3.055,0.06,-1.995,5.755)])
R(rf_wldrv_dyn_array, met3, [(-9.805,0.06,-8.745,5.755), (-8.165,0.06,-6.105,5.755), (-5.695,0.06,-3.635,5.755), (-3.055,0.06,-1.995,5.755)])
A(rf_wldrv_dyn_array, nsdm, 5.3, 0.01, 0.04, 5.51, 15, 1, 5.32, 0)
R(rf_wldrv_dyn_array, nsdm, [(-8.26,-0.175,-3.54,0.24), (-9.9,0.24,-8.65,5.88), (-3.15,0.24,-1.9,5.88)])
R(rf_wldrv_dyn_array, psdm, [(-9.9,-0.175,-8.65,0.24), (-3.15,-0.175,-1.9,0.24), (-8.26,0.24,-3.54,5.86)])
A(rf_wldrv_dyn_array, npc, -8.64, 0.645, 0.37, 0.37, 1, 6, 0, 0.86)
A(rf_wldrv_dyn_array, npc, -3.53, 0.645, 0.37, 0.37, 1, 6, 0, 0.86)
A(rf_wldrv_dyn_array, npc, 2.585, 2.19, 0.15, 0.37, 16, 1, 5.32, 0)
A(rf_wldrv_dyn_array, lvtn, 5.265, 0.36, 0.11, 4.81, 15, 1, 5.32, 0)
r = gdstk.Reference(rf_wldrv_dyn, (5.32,0), rotation=pi, x_reflection=True); r.repetition = gdstk.Repetition(16, 1, v1=(5.32,0), v2=(0,7)); rf_wldrv_dyn_array.add(r)
r = gdstk.Reference(rf_wldrv_dyn, (0,0)); r.repetition = gdstk.Repetition(16, 1, v1=(5.32,0), v2=(0,7)); rf_wldrv_dyn_array.add(r)
rf_wldrv_dyn_array.add(gdstk.Reference(rf_wldrv_ckt_array, (0,0.86)))
r = gdstk.Reference(rf_wldrv_ckt, (4.29,0.775)); r.repetition = gdstk.Repetition(16, 1, v1=(5.32,0), v2=(0,0.32)); rf_wldrv_dyn_array.add(r)
r = gdstk.Reference(rf_wldrv_ckt, (1.03,0.775)); r.repetition = gdstk.Repetition(16, 1, v1=(5.32,0), v2=(0,0.32)); rf_wldrv_dyn_array.add(r)
rf_wldrv_dyn_array.add(gdstk.Label('ena_p', (-0.1,0.83), layer=69, texttype=5))
rf_wldrv_dyn_array.add(gdstk.Label('a_p[0]', (-0.1,1.26), layer=69, texttype=5))
rf_wldrv_dyn_array.add(gdstk.Label('a_n[0]', (-0.1,1.69), layer=69, texttype=5))
rf_wldrv_dyn_array.add(gdstk.Label('a_p[1]', (-0.1,2.12), layer=69, texttype=5))
rf_wldrv_dyn_array.add(gdstk.Label('a_n[1]', (-0.1,2.55), layer=69, texttype=5))
rf_wldrv_dyn_array.add(gdstk.Label('a_p[2]', (-0.1,2.98), layer=69, texttype=5))
rf_wldrv_dyn_array.add(gdstk.Label('a_n[2]', (-0.1,3.41), layer=69, texttype=5))
rf_wldrv_dyn_array.add(gdstk.Label('a_p[3]', (-0.1,3.84), layer=69, texttype=5))
rf_wldrv_dyn_array.add(gdstk.Label('a_n[3]', (-0.1,4.27), layer=69, texttype=5))
rf_wldrv_dyn_array.add(gdstk.Label('a_p[4]', (-0.1,4.7), layer=69, texttype=5))
rf_wldrv_dyn_array.add(gdstk.Label('a_n[4]', (-0.1,5.13), layer=69, texttype=5))
rf_wldrv_dyn_array.add(gdstk.Label('VGND', (-2.525,2.907), layer=70, texttype=5))
rf_wldrv_dyn_array.add(gdstk.Label('VGND', (-9.275,2.907), layer=70, texttype=5))
rf_wldrv_dyn_array.add(gdstk.Label('VDPWR', (-4.665,2.907), layer=70, texttype=5))
rf_wldrv_dyn_array.add(gdstk.Label('VDPWR', (-7.135,2.907), layer=70, texttype=5))
rf_wldrv_dyn_array.add(gdstk.Label('ena_n', (-10.13,0.83), layer=69, texttype=5))
rf_wldrv_dyn_array.add(gdstk.Label('a[0]', (-10.13,1.69), layer=69, texttype=5))
rf_wldrv_dyn_array.add(gdstk.Label('a[1]', (-10.13,2.55), layer=69, texttype=5))
rf_wldrv_dyn_array.add(gdstk.Label('a[2]', (-10.13,3.41), layer=69, texttype=5))
rf_wldrv_dyn_array.add(gdstk.Label('a[3]', (-10.13,4.27), layer=69, texttype=5))
rf_wldrv_dyn_array.add(gdstk.Label('a[4]', (-10.13,5.13), layer=69, texttype=5))
rf_wldrv_dyn_array.add(gdstk.Label('out[0]', (1.33,6.48), layer=69, texttype=5))
rf_wldrv_dyn_array.add(gdstk.Label('out[1]', (3.99,6.48), layer=69, texttype=5))
rf_wldrv_dyn_array.add(gdstk.Label('out[2]', (6.65,6.48), layer=69, texttype=5))
rf_wldrv_dyn_array.add(gdstk.Label('out[3]', (9.31,6.48), layer=69, texttype=5))
rf_wldrv_dyn_array.add(gdstk.Label('out[4]', (11.97,6.48), layer=69, texttype=5))
rf_wldrv_dyn_array.add(gdstk.Label('out[5]', (14.63,6.48), layer=69, texttype=5))
rf_wldrv_dyn_array.add(gdstk.Label('out[6]', (17.29,6.48), layer=69, texttype=5))
rf_wldrv_dyn_array.add(gdstk.Label('out[7]', (19.95,6.48), layer=69, texttype=5))
rf_wldrv_dyn_array.add(gdstk.Label('out[8]', (22.61,6.48), layer=69, texttype=5))
rf_wldrv_dyn_array.add(gdstk.Label('out[9]', (25.27,6.48), layer=69, texttype=5))
rf_wldrv_dyn_array.add(gdstk.Label('out[10]', (27.93,6.48), layer=69, texttype=5))
rf_wldrv_dyn_array.add(gdstk.Label('out[11]', (30.59,6.48), layer=69, texttype=5))
rf_wldrv_dyn_array.add(gdstk.Label('out[12]', (33.25,6.48), layer=69, texttype=5))
rf_wldrv_dyn_array.add(gdstk.Label('out[13]', (35.91,6.48), layer=69, texttype=5))
rf_wldrv_dyn_array.add(gdstk.Label('out[14]', (38.57,6.48), layer=69, texttype=5))
rf_wldrv_dyn_array.add(gdstk.Label('out[15]', (41.23,6.48), layer=69, texttype=5))
rf_wldrv_dyn_array.add(gdstk.Label('out[16]', (43.89,6.48), layer=69, texttype=5))
rf_wldrv_dyn_array.add(gdstk.Label('out[17]', (46.55,6.48), layer=69, texttype=5))
rf_wldrv_dyn_array.add(gdstk.Label('out[18]', (49.21,6.48), layer=69, texttype=5))
rf_wldrv_dyn_array.add(gdstk.Label('out[19]', (51.87,6.48), layer=69, texttype=5))
rf_wldrv_dyn_array.add(gdstk.Label('out[20]', (54.53,6.48), layer=69, texttype=5))
rf_wldrv_dyn_array.add(gdstk.Label('out[21]', (57.19,6.48), layer=69, texttype=5))
rf_wldrv_dyn_array.add(gdstk.Label('out[22]', (59.85,6.48), layer=69, texttype=5))
rf_wldrv_dyn_array.add(gdstk.Label('out[23]', (62.51,6.48), layer=69, texttype=5))
rf_wldrv_dyn_array.add(gdstk.Label('out[24]', (65.17,6.48), layer=69, texttype=5))
rf_wldrv_dyn_array.add(gdstk.Label('out[25]', (67.83,6.48), layer=69, texttype=5))
rf_wldrv_dyn_array.add(gdstk.Label('out[26]', (70.49,6.48), layer=69, texttype=5))
rf_wldrv_dyn_array.add(gdstk.Label('out[27]', (73.15,6.48), layer=69, texttype=5))
rf_wldrv_dyn_array.add(gdstk.Label('out[28]', (75.81,6.48), layer=69, texttype=5))
rf_wldrv_dyn_array.add(gdstk.Label('out[29]', (78.47,6.48), layer=69, texttype=5))
rf_wldrv_dyn_array.add(gdstk.Label('out[30]', (81.13,6.48), layer=69, texttype=5))
rf_wldrv_dyn_array.add(gdstk.Label('out[31]', (83.79,6.48), layer=69, texttype=5))

lib.write_gds('rf_wldrv_dyn_array.gds')
